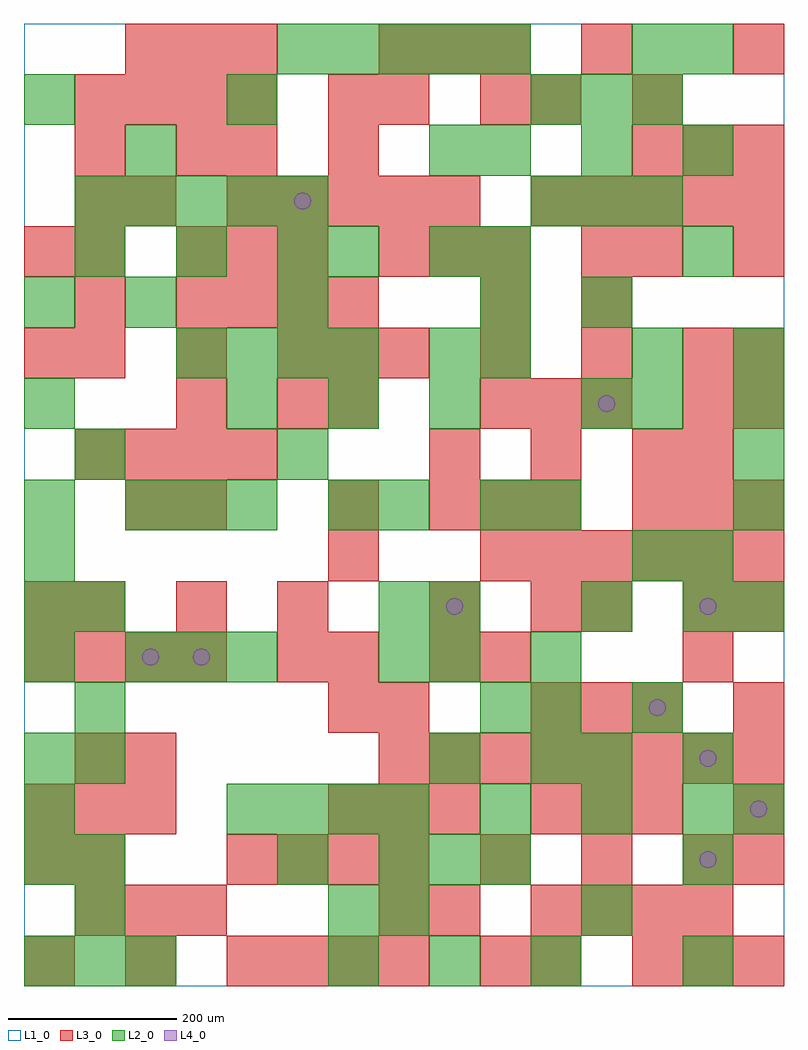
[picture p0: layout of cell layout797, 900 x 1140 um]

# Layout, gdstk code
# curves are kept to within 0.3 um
import gdstk
lib = gdstk.Library(unit=1e-6, precision=1e-09)
def R(c, l, rs):  # rectangles x0, y0, x1, y1
    for r in rs: c.add(gdstk.rectangle(r[:2], r[2:], *l))
def A(c, l, x, y, w, h, nx, ny, dx, dy):  # array of equal rectangles
    R(c, l, [(x+i*dx, y+j*dy, x+i*dx+w, y+j*dy+h) for i in range(nx) for j in range(ny)])
def P(c, l, *ps):  # polygons
    for p in ps: c.add(gdstk.Polygon(p, *l))
L1_0 = (1, 0)
L2_0 = (2, 0)
L3_0 = (3, 0)
L4_0 = (4, 0)

layout797 = lib.new_cell('layout797')
R(layout797, L1_0, [(0,0,900,1140)])
A(layout797, L2_0, 0, 0, 60, 60, 3, 1, 60, 0)
A(layout797, L2_0, 360, 0, 60, 60, 3, 1, 120, 0)
A(layout797, L2_0, 780, 0, 60, 60, 1, 3, 0, 120)
A(layout797, L2_0, 660, 60, 60, 60, 1, 3, 0, 180)
A(layout797, L2_0, 0, 120, 60, 60, 1, 3, 0, 60)
A(layout797, L2_0, 420, 120, 60, 60, 3, 1, 60, 0)
A(layout797, L2_0, 240, 180, 60, 60, 4, 1, 60, 0)
A(layout797, L2_0, 540, 180, 60, 60, 3, 2, 120, 780)
A(layout797, L2_0, 600, 240, 60, 60, 1, 3, 0, 60)
A(layout797, L2_0, 720, 300, 60, 60, 1, 3, 0, 180)
A(layout797, L2_0, 0, 360, 60, 60, 1, 4, 0, 60)
A(layout797, L2_0, 120, 360, 60, 60, 3, 2, 60, 180)
A(layout797, L2_0, 840, 540, 60, 60, 1, 4, 0, 60)
A(layout797, L2_0, 240, 660, 60, 60, 3, 1, 120, 0)
A(layout797, L2_0, 180, 720, 60, 60, 4, 1, 60, 0)
A(layout797, L2_0, 480, 720, 60, 60, 1, 3, 0, 120)
A(layout797, L2_0, 540, 720, 60, 60, 1, 3, 0, 60)
A(layout797, L2_0, 60, 840, 60, 60, 3, 1, 120, 0)
A(layout797, L2_0, 60, 900, 60, 60, 5, 1, 60, 0)
A(layout797, L2_0, 600, 900, 60, 60, 3, 2, 60, 120)
A(layout797, L2_0, 300, 1080, 60, 60, 5, 1, 60, 0)
R(layout797, L2_0, [(60,60,120,120), (360,60,420,120), (420,60,480,120), (60,120,120,180), (300,120,360,180), (840,180,900,240), (60,240,120,300), (480,240,540,300), (60,300,120,360), (540,300,600,360), (420,360,480,420), (480,360,540,420), (60,420,120,480), (420,420,480,480), (480,420,540,480), (780,420,840,480), (840,420,900,480), (780,480,840,540), (360,540,420,600), (420,540,480,600), (540,540,600,600), (600,540,660,600), (60,600,120,660), (300,600,360,660), (0,660,60,720), (660,660,720,720), (720,720,780,780), (0,780,60,840), (120,780,180,840), (300,780,360,840), (660,780,720,840), (360,840,420,900), (780,840,840,900), (120,960,180,1020), (0,1020,60,1080), (240,1020,300,1080), (720,1080,780,1140), (780,1080,840,1140)])
A(layout797, L3_0, 0, 0, 60, 60, 3, 1, 120, 0)
A(layout797, L3_0, 300, 0, 60, 60, 3, 1, 60, 0)
A(layout797, L3_0, 720, 0, 60, 60, 3, 2, 60, 540)
A(layout797, L3_0, 60, 60, 60, 60, 3, 1, 60, 0)
A(layout797, L3_0, 600, 60, 60, 60, 4, 1, 60, 0)
A(layout797, L3_0, 0, 120, 60, 60, 1, 3, 0, 300)
A(layout797, L3_0, 240, 120, 60, 60, 4, 1, 60, 0)
A(layout797, L3_0, 540, 120, 60, 60, 3, 1, 120, 0)
A(layout797, L3_0, 0, 180, 60, 60, 3, 1, 60, 0)
A(layout797, L3_0, 360, 180, 60, 60, 3, 1, 60, 0)
A(layout797, L3_0, 600, 180, 60, 60, 3, 2, 60, 120)
A(layout797, L3_0, 840, 180, 60, 60, 1, 3, 0, 120)
A(layout797, L3_0, 420, 240, 60, 60, 8, 1, 60, 0)
A(layout797, L3_0, 0, 360, 60, 60, 4, 1, 60, 0)
A(layout797, L3_0, 60, 420, 60, 60, 3, 2, 120, 300)
A(layout797, L3_0, 540, 480, 60, 60, 6, 1, 60, 0)
A(layout797, L3_0, 480, 540, 60, 60, 3, 1, 60, 0)
A(layout797, L3_0, 60, 600, 60, 60, 4, 2, 60, 420)
A(layout797, L3_0, 480, 600, 60, 60, 3, 1, 120, 0)
A(layout797, L3_0, 540, 660, 60, 60, 3, 1, 60, 0)
A(layout797, L3_0, 420, 720, 60, 60, 4, 1, 120, 0)
A(layout797, L3_0, 60, 780, 60, 60, 1, 4, 0, 60)
A(layout797, L3_0, 180, 780, 60, 60, 4, 1, 60, 0)
A(layout797, L3_0, 180, 840, 60, 60, 3, 1, 60, 0)
A(layout797, L3_0, 420, 840, 60, 60, 3, 2, 60, 240)
A(layout797, L3_0, 240, 900, 60, 60, 5, 1, 60, 0)
A(layout797, L3_0, 600, 900, 60, 60, 5, 1, 60, 0)
A(layout797, L3_0, 720, 960, 60, 60, 3, 1, 60, 0)
A(layout797, L3_0, 120, 1080, 60, 60, 3, 1, 60, 0)
R(layout797, L3_0, [(540,0,600,60), (600,0,660,60), (420,60,480,120), (480,60,540,120), (60,120,120,180), (840,120,900,180), (60,240,120,300), (120,240,180,300), (360,300,420,360), (420,300,480,360), (300,360,360,420), (360,360,420,420), (480,360,540,420), (540,360,600,420), (780,360,840,420), (480,420,540,480), (600,420,660,480), (660,420,720,480), (780,420,840,480), (360,480,420,540), (120,540,180,600), (180,540,240,600), (360,540,420,600), (780,600,840,660), (180,660,240,720), (300,660,360,720), (360,660,420,720), (780,660,840,720), (840,660,900,720), (360,720,420,780), (840,720,900,780), (540,780,600,840), (660,780,720,840), (0,840,60,900), (660,840,720,900), (720,840,780,900), (840,840,900,900), (120,900,180,960), (180,960,240,1020), (240,960,300,1020), (360,960,420,1020), (360,1020,420,1080), (420,1020,480,1080), (540,1020,600,1080), (600,1020,660,1080), (720,1020,780,1080), (660,1080,720,1140), (840,1080,900,1140)])
P(layout797, L4_0, [(160,390),(159.239,393.827),(157.071,397.071),(153.827,399.239),(150,400),(146.173,399.239),(142.929,397.071),(140.761,393.827),(140,390),(140.761,386.173),(142.929,382.929),(146.173,380.761),(150,380),(153.827,380.761),(157.071,382.929),(159.239,386.173)],
  [(220,390),(219.239,393.827),(217.071,397.071),(213.827,399.239),(210,400),(206.173,399.239),(202.929,397.071),(200.761,393.827),(200,390),(200.761,386.173),(202.929,382.929),(206.173,380.761),(210,380),(213.827,380.761),(217.071,382.929),(219.239,386.173)],
  [(340,930),(339.239,933.827),(337.071,937.071),(333.827,939.239),(330,940),(326.173,939.239),(322.929,937.071),(320.761,933.827),(320,930),(320.761,926.173),(322.929,922.929),(326.173,920.761),(330,920),(333.827,920.761),(337.071,922.929),(339.239,926.173)],
  [(520,450),(519.239,453.827),(517.071,457.071),(513.827,459.239),(510,460),(506.173,459.239),(502.929,457.071),(500.761,453.827),(500,450),(500.761,446.173),(502.929,442.929),(506.173,440.761),(510,440),(513.827,440.761),(517.071,442.929),(519.239,446.173)],
  [(700,690),(699.239,693.827),(697.071,697.071),(693.827,699.239),(690,700),(686.173,699.239),(682.929,697.071),(680.761,693.827),(680,690),(680.761,686.173),(682.929,682.929),(686.173,680.761),(690,680),(693.827,680.761),(697.071,682.929),(699.239,686.173)],
  [(760,330),(759.239,333.827),(757.071,337.071),(753.827,339.239),(750,340),(746.173,339.239),(742.929,337.071),(740.761,333.827),(740,330),(740.761,326.173),(742.929,322.929),(746.173,320.761),(750,320),(753.827,320.761),(757.071,322.929),(759.239,326.173)],
  [(820,150),(819.239,153.827),(817.071,157.071),(813.827,159.239),(810,160),(806.173,159.239),(802.929,157.071),(800.761,153.827),(800,150),(800.761,146.173),(802.929,142.929),(806.173,140.761),(810,140),(813.827,140.761),(817.071,142.929),(819.239,146.173)],
  [(820,270),(819.239,273.827),(817.071,277.071),(813.827,279.239),(810,280),(806.173,279.239),(802.929,277.071),(800.761,273.827),(800,270),(800.761,266.173),(802.929,262.929),(806.173,260.761),(810,260),(813.827,260.761),(817.071,262.929),(819.239,266.173)],
  [(820,450),(819.239,453.827),(817.071,457.071),(813.827,459.239),(810,460),(806.173,459.239),(802.929,457.071),(800.761,453.827),(800,450),(800.761,446.173),(802.929,442.929),(806.173,440.761),(810,440),(813.827,440.761),(817.071,442.929),(819.239,446.173)],
  [(880,210),(879.239,213.827),(877.071,217.071),(873.827,219.239),(870,220),(866.173,219.239),(862.929,217.071),(860.761,213.827),(860,210),(860.761,206.173),(862.929,202.929),(866.173,200.761),(870,200),(873.827,200.761),(877.071,202.929),(879.239,206.173)])

lib.write_gds('layout797.gds')
